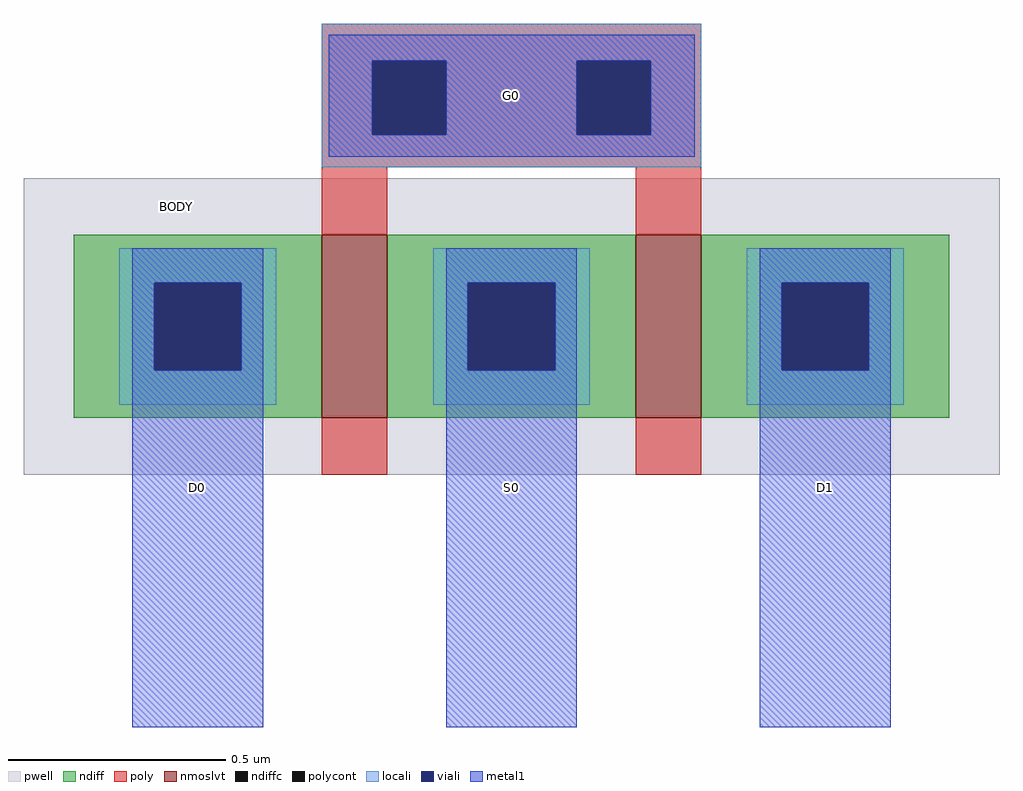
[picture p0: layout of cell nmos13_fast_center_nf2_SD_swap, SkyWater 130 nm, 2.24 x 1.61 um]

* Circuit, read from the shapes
.subckt nmos13_fast_center_nf2_SD_swap S0 G0 D0 D1 BODY
XM1 S0 G0 D0 BODY sky130_fd_pr__nfet_01v8_lvt w=0.42 l=0.15
XM2 D1 G0 S0 BODY sky130_fd_pr__nfet_01v8_lvt w=0.42 l=0.15
.ends

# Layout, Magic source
magic
tech sky130A
magscale 1 2
<< pwell >>
rect -78 546 370 682
<< nmoslvt >>
rect 59 572 89 656
rect 203 572 233 656
<< ndiff >>
rect -55 634 59 656
rect -55 594 -18 634
rect 22 594 59 634
rect -55 572 59 594
rect 89 634 203 656
rect 89 594 126 634
rect 166 594 203 634
rect 89 572 203 594
rect 233 634 347 656
rect 233 594 270 634
rect 310 594 347 634
rect 233 572 347 594
<< ndiffc >>
rect -18 594 22 634
rect 126 594 166 634
rect 270 594 310 634
<< poly >>
rect 59 736 233 753
rect 59 702 82 736
rect 116 702 176 736
rect 210 702 233 736
rect 59 687 233 702
rect 59 656 89 687
rect 203 656 233 687
rect 59 546 89 572
rect 203 546 233 572
<< polycont >>
rect 82 702 116 736
rect 176 702 210 736
<< locali >>
rect 59 736 233 753
rect 59 702 82 736
rect 116 702 176 736
rect 210 702 233 736
rect 59 687 233 702
rect -34 634 38 650
rect -34 594 -18 634
rect 22 594 38 634
rect -34 578 38 594
rect 110 634 182 650
rect 110 594 126 634
rect 166 594 182 634
rect 110 578 182 594
rect 254 634 326 650
rect 254 594 270 634
rect 310 594 326 634
rect 254 578 326 594
<< viali >>
rect 82 702 116 736
rect 176 702 210 736
rect -18 594 22 634
rect 126 594 166 634
rect 270 594 310 634
<< metal1 >>
rect 62 736 230 748
rect 62 702 82 736
rect 116 702 176 736
rect 210 702 230 736
rect 62 692 230 702
rect -28 634 32 650
rect -28 594 -18 634
rect 22 594 32 634
rect -28 430 32 594
rect 116 634 176 650
rect 116 594 126 634
rect 166 594 176 634
rect 116 430 176 594
rect 260 634 320 650
rect 260 594 270 634
rect 310 594 320 634
rect 260 430 320 594
<< labels >>
flabel metal1 -28 430 32 650 0 FreeSans 240 0 0 0 D0
port 3 nsew
flabel metal1 116 430 176 650 0 FreeSans 240 0 0 0 S0
port 1 nsew
flabel metal1 260 430 320 650 0 FreeSans 240 0 0 0 D1
port 4 nsew
flabel metal1 62 692 230 748 0 FreeSans 240 0 0 0 G0
port 2 nsew
rlabel pwell -18 662 2 676 1 BODY
port 5 n
<< end >>
